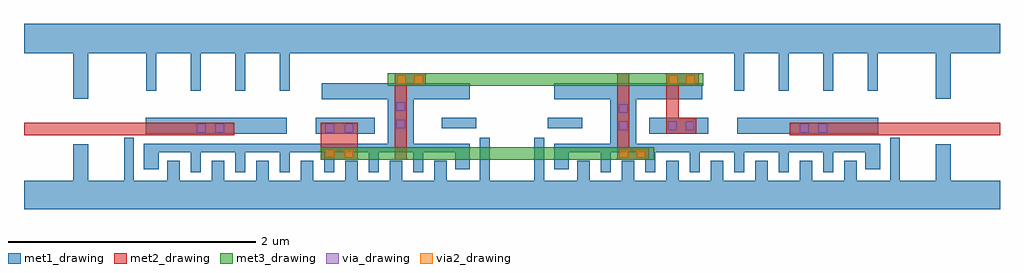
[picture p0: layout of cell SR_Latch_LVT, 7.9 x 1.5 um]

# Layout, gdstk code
import gdstk
lib = gdstk.Library(unit=1e-6, precision=1e-09)
def R(c, l, rs):  # rectangles x0, y0, x1, y1
    for r in rs: c.add(gdstk.rectangle(r[:2], r[2:], *l))
def P(c, l, *ps):  # polygons
    for p in ps: c.add(gdstk.Polygon(p, *l))
met1_drawing = (31, 0)
met2_drawing = (32, 0)
met3_drawing = (33, 0)
via_drawing = (51, 0)
via2_drawing = (52, 0)

sr_latch_lvt = lib.new_cell('SR_Latch_LVT')
R(sr_latch_lvt, met1_drawing, [(0.935,0.56,2.075,0.69), (2.31,0.56,2.79,0.69), (5.01,0.56,5.49,0.69), (5.725,0.56,6.865,0.69), (3.33,0.605,3.61,0.69), (4.19,0.605,4.47,0.69)])
P(sr_latch_lvt, met1_drawing, [(3.86,-0.05),(3.86,0.18),(4.08,0.18),(4.08,0.53),(4.16,0.53),(4.16,0.18),(4.43,0.18),(4.43,0.34),(4.53,0.34),(4.53,0.18),(4.79,0.18),(4.79,0.34),(4.89,0.34),(4.89,0.18),(5.15,0.18),(5.15,0.34),(5.25,0.34),(5.25,0.18),(5.51,0.18),(5.51,0.34),(5.61,0.34),(5.61,0.18),(5.87,0.18),(5.87,0.34),(5.97,0.34),(5.97,0.18),(6.23,0.18),(6.23,0.34),(6.33,0.34),(6.33,0.18),(6.59,0.18),(6.59,0.34),(6.69,0.34),(6.69,0.18),(6.96,0.18),(6.96,0.53),(7.04,0.53),(7.04,0.18),(7.11,0.18),(7.11,-0.05)],
  [(7.11,-0.05),(7.11,0.18),(7.33,0.18),(7.33,0.475),(7.45,0.475),(7.45,0.18),(7.85,0.18),(7.85,-0.05)],
  [(1.3,0.25),(1.3,0.41),(1.04,0.41),(1.04,0.275),(0.92,0.275),(0.92,0.48),(2.895,0.48),(2.895,0.84),(2.36,0.84),(2.36,0.97),(3.56,0.97),(3.56,0.84),(3.105,0.84),(3.105,0.48),(3.56,0.48),(3.56,0.275),(3.44,0.275),(3.44,0.41),(3.18,0.41),(3.18,0.25),(3.1,0.25),(3.1,0.41),(2.82,0.41),(2.82,0.25),(2.74,0.25),(2.74,0.41),(2.46,0.41),(2.46,0.25),(2.38,0.25),(2.38,0.41),(2.1,0.41),(2.1,0.25),(2.02,0.25),(2.02,0.41),(1.74,0.41),(1.74,0.25),(1.66,0.25),(1.66,0.41),(1.38,0.41),(1.38,0.25)],
  [(0.94,0.91),(0.94,1.21),(0.69,1.21),(0.69,1.45),(3.94,1.45),(3.94,1.21),(2.1,1.21),(2.1,0.91),(2.02,0.91),(2.02,1.21),(1.74,1.21),(1.74,0.91),(1.66,0.91),(1.66,1.21),(1.38,1.21),(1.38,0.91),(1.3,0.91),(1.3,1.21),(1.02,1.21),(1.02,0.91)],
  [(0.35,0.845),(0.35,1.21),(-0.05,1.21),(-0.05,1.45),(0.69,1.45),(0.69,1.21),(0.47,1.21),(0.47,0.845)],
  [(5.7,0.91),(5.7,1.21),(3.86,1.21),(3.86,1.45),(7.11,1.45),(7.11,1.21),(6.86,1.21),(6.86,0.91),(6.78,0.91),(6.78,1.21),(6.5,1.21),(6.5,0.91),(6.42,0.91),(6.42,1.21),(6.14,1.21),(6.14,0.91),(6.06,0.91),(6.06,1.21),(5.78,1.21),(5.78,0.91)],
  [(7.33,0.845),(7.33,1.21),(7.11,1.21),(7.11,1.45),(7.85,1.45),(7.85,1.21),(7.45,1.21),(7.45,0.845)],
  [(4.62,0.25),(4.62,0.41),(4.36,0.41),(4.36,0.275),(4.24,0.275),(4.24,0.48),(4.695,0.48),(4.695,0.84),(4.24,0.84),(4.24,0.97),(5.44,0.97),(5.44,0.84),(4.905,0.84),(4.905,0.48),(6.88,0.48),(6.88,0.275),(6.76,0.275),(6.76,0.41),(6.5,0.41),(6.5,0.25),(6.42,0.25),(6.42,0.41),(6.14,0.41),(6.14,0.25),(6.06,0.25),(6.06,0.41),(5.78,0.41),(5.78,0.25),(5.7,0.25),(5.7,0.41),(5.42,0.41),(5.42,0.25),(5.34,0.25),(5.34,0.41),(5.06,0.41),(5.06,0.25),(4.98,0.25),(4.98,0.41),(4.7,0.41),(4.7,0.25)],
  [(0.69,-0.05),(0.69,0.18),(0.76,0.18),(0.76,0.53),(0.84,0.53),(0.84,0.18),(1.11,0.18),(1.11,0.34),(1.21,0.34),(1.21,0.18),(1.47,0.18),(1.47,0.34),(1.57,0.34),(1.57,0.18),(1.83,0.18),(1.83,0.34),(1.93,0.34),(1.93,0.18),(2.19,0.18),(2.19,0.34),(2.29,0.34),(2.29,0.18),(2.55,0.18),(2.55,0.34),(2.65,0.34),(2.65,0.18),(2.91,0.18),(2.91,0.34),(3.01,0.34),(3.01,0.18),(3.27,0.18),(3.27,0.34),(3.37,0.34),(3.37,0.18),(3.64,0.18),(3.64,0.53),(3.72,0.53),(3.72,0.18),(3.94,0.18),(3.94,-0.05)],
  [(-0.05,-0.05),(-0.05,0.18),(0.35,0.18),(0.35,0.475),(0.47,0.475),(0.47,0.18),(0.69,0.18),(0.69,-0.05)])
R(sr_latch_lvt, met2_drawing, [(2.35,0.35,2.65,0.65), (2.95,0.35,3.05,1.05), (4.75,0.35,5.01,0.45), (4.75,0.35,4.85,1.05), (-0.05,0.55,1.65,0.65), (6.15,0.55,7.85,0.65), (5.15,0.56,5.39,0.69), (5.15,0.56,5.25,1.05), (2.96,0.95,3.2,1.05), (5.15,0.95,5.41,1.05)])
R(sr_latch_lvt, met3_drawing, [(2.35,0.35,5.05,0.45), (2.895,0.95,5.45,1.05)])
R(sr_latch_lvt, via_drawing, [(1.35,0.57,1.42,0.64), (1.5,0.57,1.57,0.64), (2.39,0.57,2.46,0.64), (2.545,0.57,2.615,0.64), (6.23,0.57,6.3,0.64), (6.38,0.57,6.45,0.64), (4.765,0.59,4.835,0.66), (5.165,0.59,5.235,0.66), (5.305,0.59,5.375,0.66), (2.965,0.605,3.035,0.675), (4.765,0.73,4.835,0.8), (2.965,0.745,3.035,0.815)])
R(sr_latch_lvt, via2_drawing, [(2.39,0.365,2.46,0.435), (2.545,0.365,2.615,0.435), (4.77,0.365,4.84,0.435), (4.91,0.365,4.98,0.435), (2.97,0.965,3.04,1.035), (3.11,0.965,3.18,1.035), (5.17,0.965,5.24,1.035), (5.31,0.965,5.38,1.035)])

lib.write_gds('SR_Latch_LVT.gds')
